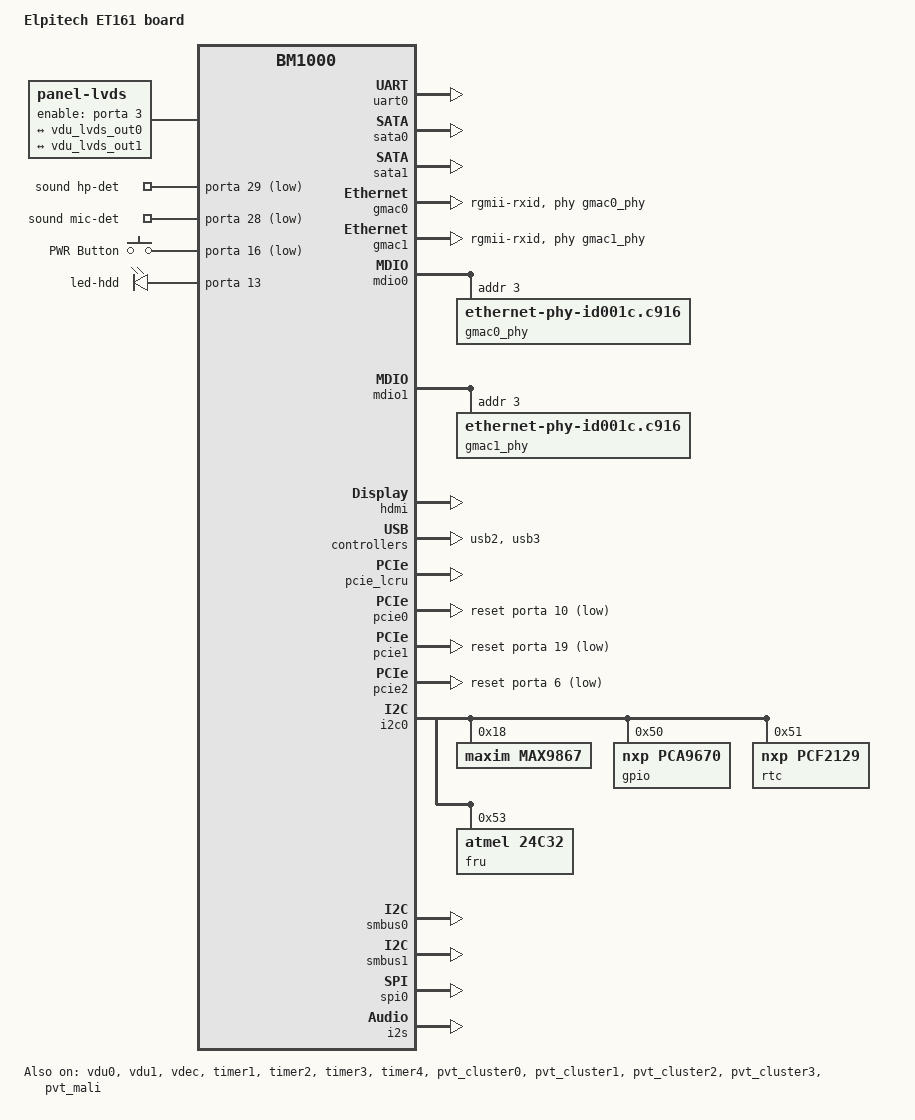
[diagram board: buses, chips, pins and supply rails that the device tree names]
// SPDX-License-Identifier: GPL-2.0
/*
 * Baikal-M ET161 board device tree
 *
 */

/dts-v1/;

#include "bm1000.dtsi"
#include <dt-bindings/net/realtek-phy-rtl8211f.h>
#include <dt-bindings/input/gpio-keys.h>
#include <dt-bindings/leds/common.h>

/ {

	model = "Elpitech ET161 board";
	compatible = "baikal,baikal-m";
	#address-cells = <2>;
	#size-cells = <2>;

	aliases {
		ethernet0 = &gmac0;
		ethernet1 = &gmac1;
		fru = &fru;
	};

	chosen { };

	panel {
		compatible = "panel-lvds";
		width-mm = <223>;
		height-mm = <125>;
		data-mapping = "vesa-24";
		enable-gpios = <&porta 3 GPIO_ACTIVE_HIGH>;
		panel-timing {
		// 1920x1080 @60Hz
			clock-frequency = <148500000>;
			hactive = <1920>;
			vactive = <1080>;
			hsync-len = <44>;
			hfront-porch = <88>;
			hback-porch = <148>;
			vsync-len = <5>;
			vfront-porch = <4>;
			vback-porch = <36>;
		};
		port {
			#address-cells = <1>;
			#size-cells = <0>;
			panel0_lvds0: endpoint@0 {
				reg = <0>;
				remote-endpoint = <&vdu_lvds_out0>;
			};
			panel0_lvds1: endpoint@1 {
				reg = <1>;
				remote-endpoint = <&vdu_lvds_out1>;
			};
		};
	};

	sound {
		compatible = "simple-audio-card";
		simple-audio-card,name = "ELP-Sound-Card";
		simple-audio-card,bitclock-master = <&codec0>;
		simple-audio-card,frame-master = <&codec0>;
		simple-audio-card,widgets =
			"Microphone", "Mic Jack",
			"Headphone", "Headphones",
			"Speaker", "AUX Out",
			"Line", "Line In";
		simple-audio-card,routing =
			"Headphones", "DACR",
			"Headphones", "DACL",
			"AUX Out", "DACR",
			"AUX Out", "DACL",
			"ADCL", "Mic Jack",
			"ADCR", "Mic Jack",
			"ADCL", "Line In",
			"ADCR", "Line In";

		simple-audio-card,hp-det-gpio = <&porta 29 GPIO_ACTIVE_LOW>;
		simple-audio-card,mic-det-gpio = <&porta 28 GPIO_ACTIVE_LOW>;
		simple-audio-card,format = "i2s";

		simple-audio-card,cpu {
			sound-dai = <&i2s>;
		};
		codec0: simple-audio-card,codec {
			system-clock-frequency = <27000000>;
			sound-dai = <&max9867 0>;
		};
	};

	gpio-keys {
		compatible = "gpio-keys";
		pwr {
			label = "PWR Button";
			linux,code = <116>;
			gpios = <&porta 16 GPIO_ACTIVE_LOW>;
			wakeup-source;
			wakeup-event-action = <EV_ACT_DEASSERTED>;
		};
	};

	leds {
		compatible = "gpio-leds";
		led-hdd {
			gpios = <&porta 13 GPIO_ACTIVE_HIGH>;
			linux,default-trigger = "disk-activity";
			function = LED_FUNCTION_DISK;
		};
	};
};

&uart0 {
	status = "okay";
};

&sata0 {
	status = "okay";
};

&sata1 {
	status = "okay";
};

&gmac0 {
	status = "okay";
};

&gmac1 {
	status = "okay";
};

&vdu0 {
	status = "okay";
	num-lanes = <2>;
	lvds-lanes = <2>;
	port {
		#address-cells = <1>;
		#size-cells = <0>;
		vdu_lvds_out0: endpoint@0 {
			reg = <0>;
			remote-endpoint = <&panel0_lvds0>;
		};
		vdu_lvds_out1: endpoint@1 {
			reg = <1>;
			remote-endpoint = <&panel0_lvds1>;
		};
	};

};

&gmac0 {
	status = "okay";
	snps,reset-gpios = <&porta 25 GPIO_ACTIVE_LOW>;
	snps,reset-delays-us = <10>, <10000>, <50000>;
	clk_csr = <0x3>;
	phy-mode = "rgmii-rxid";
	phy-handle = <&gmac0_phy>;
};

&mdio0 {
	gmac0_phy: ethernet-phy@3 {
		compatible = "ethernet-phy-id001c.c916", "ethernet-phy-ieee802.3-c22";
		reg = <0x3>;
		realtek,led-mode = <RTL8211F_LED_MODE_B>;
		realtek,led0-control = <RTL8211F_LINK10_1000_ACT>;
		realtek,led1-control = <RTL8211F_LINK100_1000>;
	};
};

&gmac1 {
	status = "okay";
	snps,reset-gpios = <&porta 22 GPIO_ACTIVE_LOW>;
	snps,reset-delays-us = <10>, <10000>, <50000>;
	clk_csr = <0x3>;
	phy-mode = "rgmii-rxid";
	phy-handle = <&gmac1_phy>;
};

&mdio1 {
	gmac1_phy: ethernet-phy@3 {
		compatible = "ethernet-phy-id001c.c916", "ethernet-phy-ieee802.3-c22";
		reg = <0x3>;
		realtek,led-mode = <RTL8211F_LED_MODE_B>;
		realtek,led0-control = <RTL8211F_LINK10_1000_ACT>;
		realtek,led1-control = <RTL8211F_LINK100_1000>;
	};
};

&hdmi {
	status = "okay";
};

&vdu1 {
	status = "okay";
};

&vdec {
	status = "okay";
};

&gpio32 {
	status = "okay";
};

&usb2 {
	status = "okay";
};

&usb3 {
	status = "okay";
};

&pcie_lcru {
	status = "okay";
};

&pcie0 {
	status = "okay";
	reset-gpios = <&porta 10 GPIO_ACTIVE_LOW>;
};

&pcie1 {
	status = "okay";
	reset-gpios = <&porta 19 GPIO_ACTIVE_LOW>;
};

&pcie2 {
	status = "okay";
	reset-gpios = <&porta 6 GPIO_ACTIVE_LOW>;
};

&timer1 {
	status = "okay";
};

&timer2 {
	status = "okay";
};

&timer3 {
	status = "okay";
};

&timer4 {
	status = "okay";
};

&pvt_cluster0 {
	status = "okay";
};

&pvt_cluster1 {
	status = "okay";
};

&pvt_cluster2 {
	status = "okay";
};

&pvt_cluster3 {
	status = "okay";
};

&pvt_mali {
	status = "okay";
};

&i2c0 {
	status = "okay";

	max9867: max9867@18 {
		compatible = "maxim,max9867";
		#sound-dai-cells = <1>;
		reg = <0x18>;
	};

	gpio@50 {
		compatible = "nxp,pca9670";
		#gpio-cells = <2>;
		gpio-controller;
		reg = <0x50>;
	};

	rtc@51 {
		compatible = "nxp,pcf2129", "nxp,pcf2127";
		reg = <0x51>;
	};

	fru: eeprom@53 {
		compatible = "atmel,24c32";
		pagesize = <32>;
		reg = <0x53>;
	};
};

&smbus0 {
	status = "okay";
};

&smbus1 {
	status = "okay";
};

&spi0 {
	num-cs = <4>;

	cs-gpios = <0>;
	status = "okay";

};

&i2s {
	status = "okay";
	system-clock-frequency = <12000000>;
	#sound-dai-cells = <0>;
};

